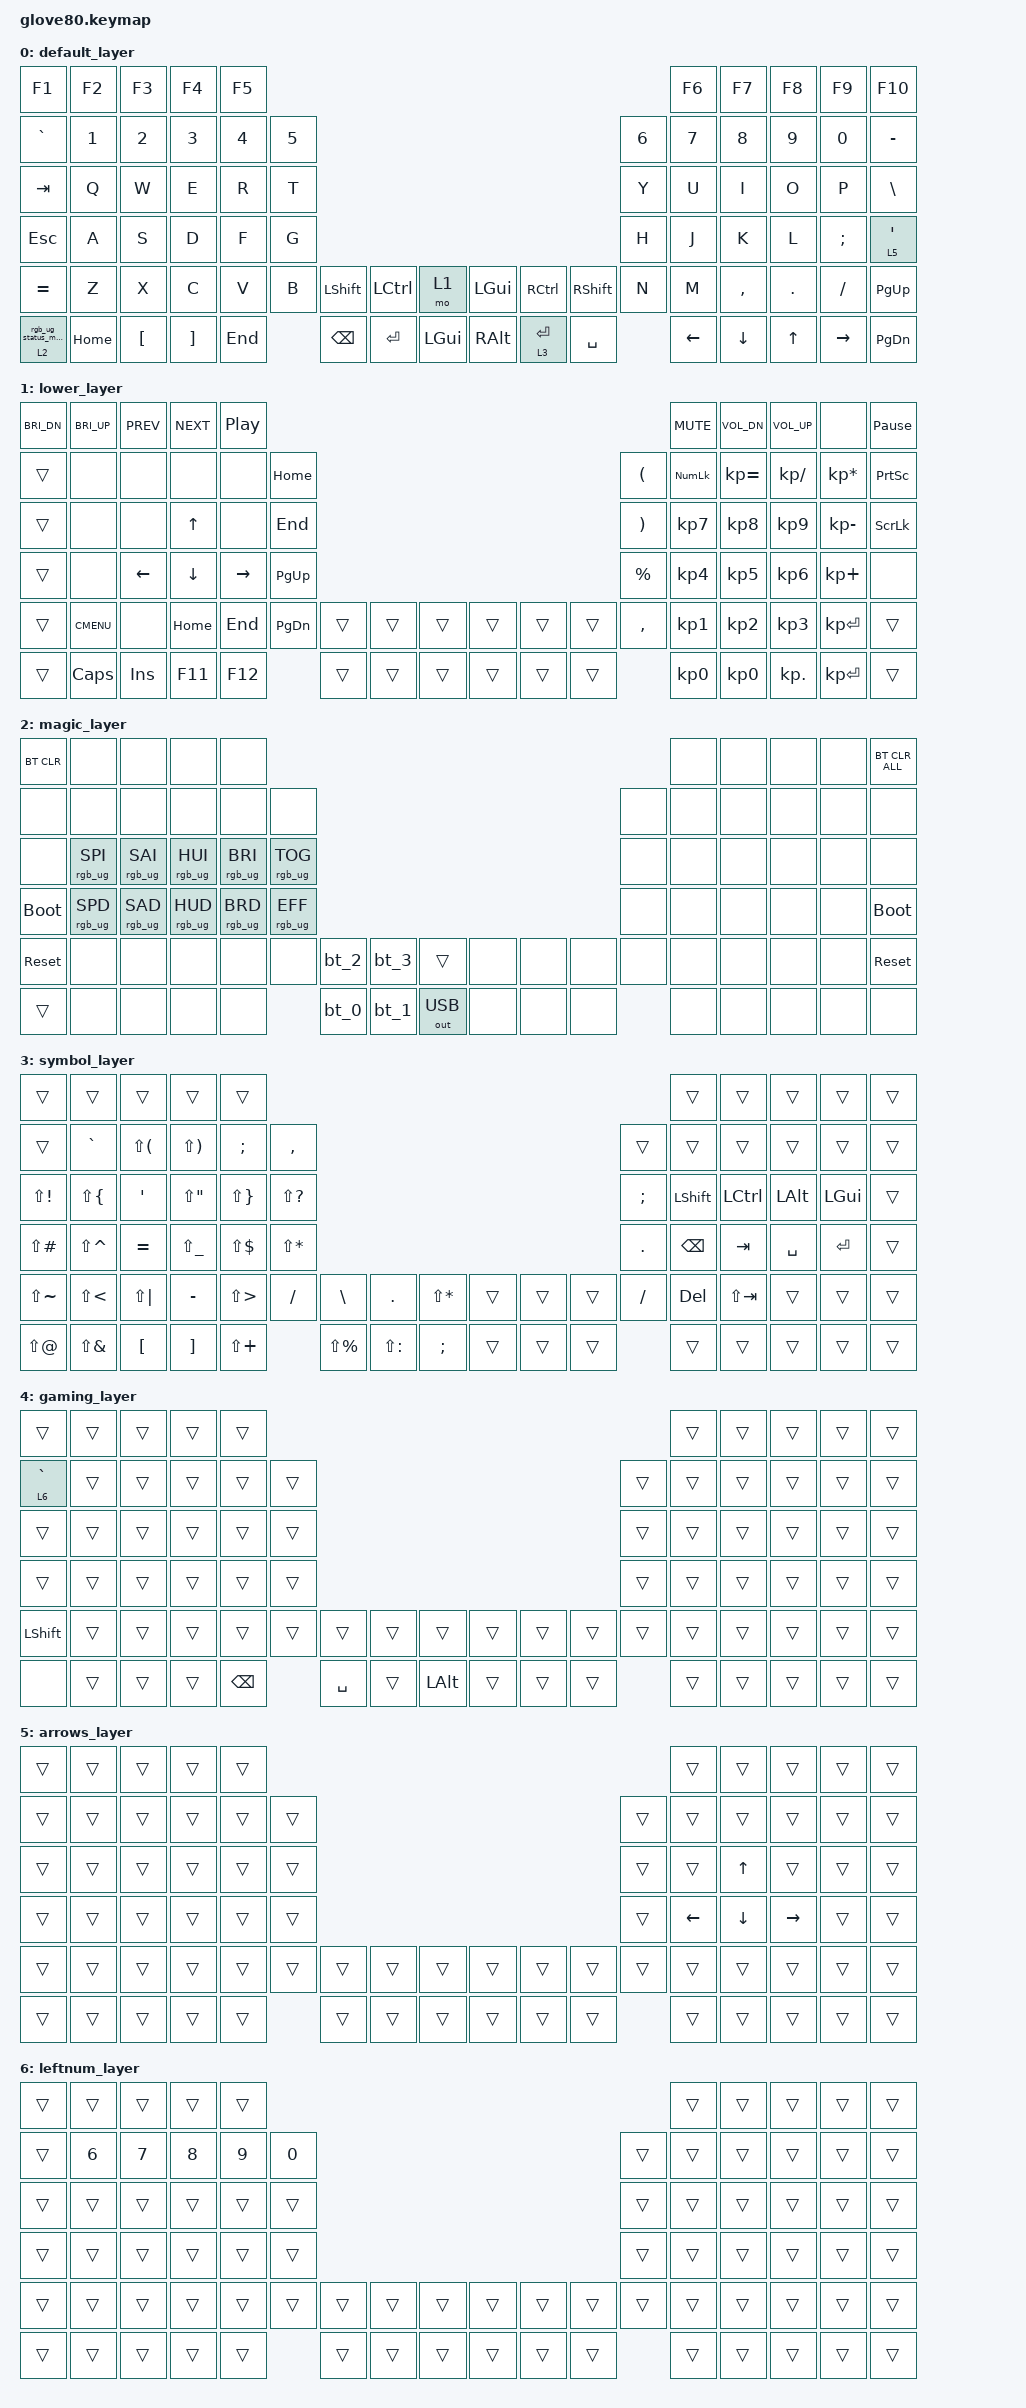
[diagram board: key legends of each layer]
/*
 * Copyright (c) 2020 The ZMK Contributors
 *
 * SPDX-License-Identifier: MIT
 */

#include <behaviors.dtsi>
#include <dt-bindings/zmk/bt.h>
#include <dt-bindings/zmk/keys.h>
#include <dt-bindings/zmk/outputs.h>
#include <dt-bindings/zmk/rgb.h>

#define HYPER LC(LS(LG(LALT)))

// layers

#define DEFAULT 0
#define LOWER 1
#define MAGIC 2
#define FACTORY_TEST 3

/ {
    behaviors {
        // For the "layer" key, it'd nice to be able to use it as either a shift or a toggle.
        // Configure it as a tap dance, so the first tap (or hold) is a &mo and the second tap is a &to

        layer_td: tap_dance_0 {
            compatible = "zmk,behavior-tap-dance";
            label = "LAYER_TAP_DANCE";
            #binding-cells = <0>;
            tapping-term-ms = <200>;
            bindings = <&mo 2>, <&to 2>;
        };

        magic: magic_hold_tap {
            compatible = "zmk,behavior-hold-tap";
            label = "MAGIC_HOLD_TAP";
            #binding-cells = <2>;
            flavor = "tap-preferred";
            tapping-term-ms = <200>;
            bindings = <&mo>, <&rgb_ug_status_macro>;
        };

        tog_on: tog_on {
            compatible = "zmk,behavior-toggle-layer";
            label = "TOG_ON";
            #binding-cells = <1>;
        };

        tog_off: tog_off {
            compatible = "zmk,behavior-toggle-layer";
            label = "TOG_OFF";
            #binding-cells = <1>;
            toggle-mode = "off";
        };
    };

    macros {
        rgb_ug_status_macro: rgb_ug_status_macro_0 {
            label = "RGB_UG_STATUS";
            compatible = "zmk,behavior-macro";
            #binding-cells = <0>;
            bindings = <&rgb_ug RGB_STATUS>;
        };

        bt_0: bt_profile_macro_0 {
            label = "BT_0";
            compatible = "zmk,behavior-macro";
            #binding-cells = <0>;
            bindings = <&out OUT_BLE &bt BT_SEL 0>;
        };

        bt_1: bt_profile_macro_1 {
            label = "BT_1";
            compatible = "zmk,behavior-macro";
            #binding-cells = <0>;
            bindings = <&out OUT_BLE &bt BT_SEL 1>;
        };

        bt_2: bt_profile_macro_2 {
            label = "BT_2";
            compatible = "zmk,behavior-macro";
            #binding-cells = <0>;
            bindings = <&out OUT_BLE &bt BT_SEL 2>;
        };

        bt_3: bt_profile_macro_3 {
            label = "BT_3";
            compatible = "zmk,behavior-macro";
            #binding-cells = <0>;
            bindings = <&out OUT_BLE &bt BT_SEL 3>;
        };
    };

    combos {
        compatible = "zmk,combos";

        combo_lock1 {
            bindings = <&tog_on 1>;
            key-positions = <54 52>;
            layers = <0>;
        };

        combo_lock4 {
            bindings = <&tog_on 4>;
            key-positions = <71 55>;
            layers = <0>;
        };

        combo_unlock1 {
            bindings = <&tog_off 1>;
            key-positions = <52 54>;
            layers = <1>;
        };

        combo_lock3 {
            bindings = <&tog_on 3>;
            key-positions = <57 73>;
            layers = <0>;
        };

        combo_unlock3 {
            bindings = <&tog_off 3>;
            key-positions = <57 73>;
            layers = <3>;
        };

        combo_unlock4 {
            bindings = <&tog_off 4>;
            key-positions = <71 55>;
        };
    };

    keymap {
        compatible = "zmk,keymap";

        default_layer {
            // ---------------------------------------------------------------------------------------------------------------------------------
            // |  F1   |  F2 |  F3 |  F4  |  F5  |                                                               |  F6   |  F7   |  F8  |   F9  |  F10 |
            // |  =    |  1  |  2  |  3   |  4   |  5   |                                                 |  6   |   7   |   8   |  9   |   0   |   -  |
            // |  TAB  |  Q  |  W  |  E   |  R   |  T   |                                                 |  Y   |   U   |   I   |  O   |   P   |   \  |
            // |  ESC  |  A  |  S  |  D   |  F   |  G   |                                                 |  H   |   J   |   K   |  L   |   ;   |   '  |
            // |   `   |  Z  |  X  |  C   |  V   |  B   | LSHFT | LCTRL | LOWER | | LGUI  | RCTRL | RSHFT |  N   |   M   |   ,   |  .   |   /   | PGUP |
            // | MAGIC | HOME| END | LEFT | RIGHT|      | BSPC  | DEL   | LALT  | | RALT  | RET   | SPACE |      |  UP   | DOWN  |  [   |   ]   | PGDN |

            bindings = <
&kp F1      &kp F2    &kp F3            &kp F4             &kp F5                                                                                         &kp F6          &kp F7     &kp F8        &kp F9           &kp F10
&kp GRAVE   &kp N1    &kp N2            &kp N3             &kp N4   &kp N5                                                                        &kp N6  &kp N7          &kp N8     &kp N9        &kp N0           &kp MINUS
&kp TAB     &kp Q     &kp W             &kp E              &kp R    &kp T                                                                         &kp Y   &kp U           &kp I      &kp O         &kp P            &kp BSLH
&kp ESC     &kp A     &kp S             &kp D              &kp F    &kp G                                                                         &kp H   &kp J           &kp K      &kp L         &kp SEMI         &lt 5 SQT
&kp EQUAL   &kp Z     &kp X             &kp C              &kp V    &kp B   &kp LSHFT  &kp LCTRL  &mo 1         &kp LGUI  &kp RCTRL    &kp RSHFT  &kp N   &kp M           &kp COMMA  &kp DOT       &kp FSLH         &kp PG_UP
&magic 2 0  &kp HOME  &kp LEFT_BRACKET  &kp RIGHT_BRACKET  &kp END          &kp BSPC   &kp ENTER  &kp LEFT_GUI  &kp RALT  &lt 3 ENTER  &kp SPACE          &kp LEFT_ARROW  &kp DOWN   &kp UP_ARROW  &kp RIGHT_ARROW  &kp PG_DN
            >;
        };

        lower_layer {
            bindings = <
&kp C_BRI_DN  &kp C_BRI_UP  &kp C_PREV  &kp C_NEXT  &kp C_PP                                                                         &kp C_MUTE  &kp C_VOL_DN  &kp C_VOL_UP   &none            &kp PAUSE_BREAK
&trans        &none         &none       &none       &none      &kp HOME                                                   &kp LPAR   &kp KP_NUM  &kp KP_EQUAL  &kp KP_DIVIDE  &kp KP_MULTIPLY  &kp PSCRN
&trans        &none         &none       &kp UP      &none      &kp END                                                    &kp RPAR   &kp KP_N7   &kp KP_N8     &kp KP_N9      &kp KP_MINUS     &kp SLCK
&trans        &none         &kp LEFT    &kp DOWN    &kp RIGHT  &kp PG_UP                                                  &kp PRCNT  &kp KP_N4   &kp KP_N5     &kp KP_N6      &kp KP_PLUS      &none
&trans        &kp K_CMENU   &none       &kp HOME    &kp END    &kp PG_DN  &trans  &trans  &trans  &trans  &trans  &trans  &kp COMMA  &kp KP_N1   &kp KP_N2     &kp KP_N3      &kp KP_ENTER     &trans
&trans        &kp CAPS      &kp INS     &kp F11     &kp F12               &trans  &trans  &trans  &trans  &trans  &trans             &kp KP_N0   &kp KP_N0     &kp KP_DOT     &kp KP_ENTER     &trans
            >;
        };

        magic_layer {
            bindings = <
&bt BT_CLR   &none            &none            &none            &none                                                                                     &none  &none  &none  &none  &bt BT_CLR_ALL
&none        &none            &none            &none            &none            &none                                                             &none  &none  &none  &none  &none  &none
&none        &rgb_ug RGB_SPI  &rgb_ug RGB_SAI  &rgb_ug RGB_HUI  &rgb_ug RGB_BRI  &rgb_ug RGB_TOG                                                   &none  &none  &none  &none  &none  &none
&bootloader  &rgb_ug RGB_SPD  &rgb_ug RGB_SAD  &rgb_ug RGB_HUD  &rgb_ug RGB_BRD  &rgb_ug RGB_EFF                                                   &none  &none  &none  &none  &none  &bootloader
&sys_reset   &none            &none            &none            &none            &none            &bt_2  &bt_3  &trans        &none  &none  &none  &none  &none  &none  &none  &none  &sys_reset
&trans       &none            &none            &none            &none                             &bt_0  &bt_1  &out OUT_USB  &none  &none  &none         &none  &none  &none  &none  &none
            >;
        };

        symbol_layer {
            bindings = <
&trans         &trans         &trans                    &trans         &trans                                                                                                     &trans     &trans       &trans     &trans    &trans
&trans         &kp GRAVE      &kp LS(LEFT_PARENTHESIS)  &kp LS(RPAR)   &kp SEMI      &kp COMMA                                                                          &trans    &trans     &trans       &trans     &trans    &trans
&kp LS(EXCL)   &kp LS(LBRC)   &kp SQT                   &kp LS(DQT)    &kp LS(RBRC)  &kp LS(QMARK)                                                                      &kp SEMI  &kp LSHFT  &kp LCTRL    &kp LALT   &kp LGUI  &trans
&kp LS(POUND)  &kp LS(CARET)  &kp EQUAL                 &kp LS(UNDER)  &kp LS(DLLR)  &kp LS(STAR)                                                                       &kp DOT   &kp BSPC   &kp TAB      &kp SPACE  &kp RET   &trans
&kp LS(TILDE)  &kp LS(LT)     &kp LS(PIPE)              &kp MINUS      &kp LS(GT)    &kp FSLH       &kp BSLH       &kp DOT        &kp LS(STAR)  &trans  &trans  &trans  &kp FSLH  &kp DEL    &kp LS(TAB)  &trans     &trans    &trans
&kp LS(AT)     &kp LS(AMPS)   &kp LBKT                  &kp RBKT       &kp LS(PLUS)                 &kp LS(PRCNT)  &kp LS(COLON)  &kp SEMI      &trans  &trans  &trans            &trans     &trans       &trans     &trans    &trans
            >;
        };

        gaming_layer {
            bindings = <
&trans          &trans  &trans  &trans  &trans                                                                                  &trans  &trans  &trans  &trans  &trans
&lt 6 GRAVE     &trans  &trans  &trans  &trans         &trans                                                           &trans  &trans  &trans  &trans  &trans  &trans
&trans          &trans  &trans  &trans  &trans         &trans                                                           &trans  &trans  &trans  &trans  &trans  &trans
&trans          &trans  &trans  &trans  &trans         &trans                                                           &trans  &trans  &trans  &trans  &trans  &trans
&kp LEFT_SHIFT  &trans  &trans  &trans  &trans         &trans  &trans     &trans  &trans        &trans  &trans  &trans  &trans  &trans  &trans  &trans  &trans  &trans
&none           &trans  &trans  &trans  &kp BACKSPACE          &kp SPACE  &trans  &kp LEFT_ALT  &trans  &trans  &trans          &trans  &trans  &trans  &trans  &trans
            >;
        };

        arrows_layer {
            bindings = <
&trans  &trans  &trans  &trans  &trans                                                                  &trans    &trans        &trans     &trans  &trans
&trans  &trans  &trans  &trans  &trans  &trans                                                  &trans  &trans    &trans        &trans     &trans  &trans
&trans  &trans  &trans  &trans  &trans  &trans                                                  &trans  &trans    &kp UP_ARROW  &trans     &trans  &trans
&trans  &trans  &trans  &trans  &trans  &trans                                                  &trans  &kp LEFT  &kp DOWN      &kp RIGHT  &trans  &trans
&trans  &trans  &trans  &trans  &trans  &trans  &trans  &trans  &trans  &trans  &trans  &trans  &trans  &trans    &trans        &trans     &trans  &trans
&trans  &trans  &trans  &trans  &trans          &trans  &trans  &trans  &trans  &trans  &trans          &trans    &trans        &trans     &trans  &trans
            >;
        };

        leftnum_layer {
            bindings = <
&trans  &trans        &trans        &trans        &trans                                                                              &trans  &trans  &trans  &trans  &trans
&trans  &kp NUMBER_6  &kp NUMBER_7  &kp NUMBER_8  &kp NUMBER_9  &kp NUMBER_0                                                  &trans  &trans  &trans  &trans  &trans  &trans
&trans  &trans        &trans        &trans        &trans        &trans                                                        &trans  &trans  &trans  &trans  &trans  &trans
&trans  &trans        &trans        &trans        &trans        &trans                                                        &trans  &trans  &trans  &trans  &trans  &trans
&trans  &trans        &trans        &trans        &trans        &trans        &trans  &trans  &trans  &trans  &trans  &trans  &trans  &trans  &trans  &trans  &trans  &trans
&trans  &trans        &trans        &trans        &trans                      &trans  &trans  &trans  &trans  &trans  &trans          &trans  &trans  &trans  &trans  &trans
            >;
        };
    };
};
